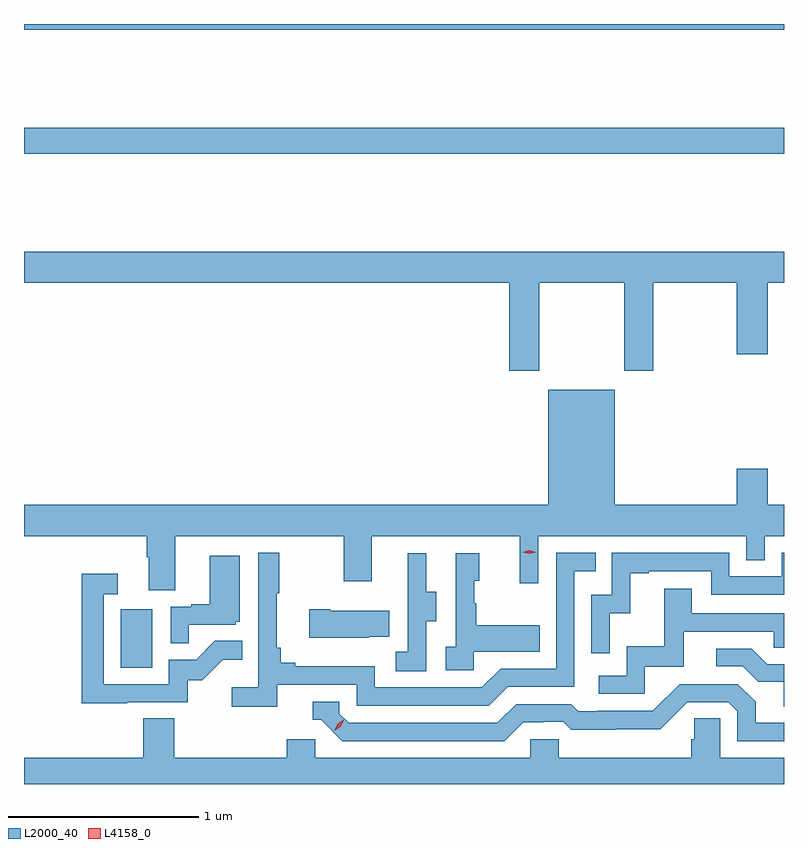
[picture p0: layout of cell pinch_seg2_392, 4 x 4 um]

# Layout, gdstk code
import gdstk
lib = gdstk.Library(unit=1e-6, precision=1e-09)
def R(c, l, rs):  # rectangles x0, y0, x1, y1
    for r in rs: c.add(gdstk.rectangle(r[:2], r[2:], *l))
def P(c, l, *ps):  # polygons
    for p in ps: c.add(gdstk.Polygon(p, *l))
L2000_40 = (2000, 40)
L4158_0 = (4158, 0)

pinch_seg2_392 = lib.new_cell('pinch_seg2_392')
R(pinch_seg2_392, L2000_40, [(964.964,621.636,965.128,621.943), (964.454,624.34,968.454,624.476), (964.454,624.992,968.454,625.023)])
P(pinch_seg2_392, L2000_40, [(967.167,623.66),(967.612,623.66),(967.612,623.199),(967.767,623.199),(967.767,623.66),(968.204,623.66),(968.204,623.286),(968.368,623.286),(968.368,623.66),(968.454,623.66),(968.454,623.824),(964.454,623.824),(964.454,623.66),(967.007,623.66),(967.007,623.199),(967.167,623.199)],
  [(965.251,622.328),(966.136,622.328),(966.136,622.089),(966.283,622.089),(966.283,622.328),(967.064,622.328),(967.064,622.08),(967.161,622.08),(967.161,622.328),(968.256,622.328),(968.256,622.201),(968.352,622.201),(968.352,622.328),(968.454,622.328),(968.454,622.492),(968.368,622.492),(968.368,622.681),(968.204,622.681),(968.204,622.492),(967.564,622.492),(967.564,623.098),(967.214,623.098),(967.214,622.492),(964.454,622.492),(964.454,622.328),(965.099,622.328),(965.099,622.216),(965.111,622.216),(965.111,622.042),(965.251,622.042)],
  [(965.786,621.546),(966.204,621.546),(966.204,621.435),(966.901,621.435),(967,621.534),(967.35,621.534),(967.35,622.143),(967.463,622.143),(967.463,622.239),(967.254,622.239),(967.254,621.63),(966.963,621.63),(966.864,621.531),(966.3,621.531),(966.3,621.643),(965.881,621.643),(965.881,621.662),(965.804,621.662),(965.804,621.739),(965.785,621.739),(965.785,622.027),(965.797,622.027),(965.797,622.24),(965.688,622.24),(965.688,621.532),(965.547,621.532),(965.547,621.43),(965.786,621.43)],
  [(967.536,621.923),(967.646,621.923),(967.646,622.131),(967.741,622.131),(967.741,622.143),(968.07,622.143),(968.07,622.02),(968.454,622.02),(968.454,622.239),(968.442,622.239),(968.442,622.116),(968.166,622.116),(968.166,622.239),(967.548,622.239),(967.548,622.02),(967.44,622.02),(967.44,621.711),(967.536,621.711)],
  [(966.822,621.719),(967.169,621.719),(967.169,621.859),(966.835,621.859),(966.835,621.974),(966.825,621.974),(966.825,622.092),(966.85,622.092),(966.85,622.237),(966.726,622.237),(966.726,621.746),(966.675,621.746),(966.675,621.621),(966.822,621.621)],
  [(966.57,621.88),(966.625,621.88),(966.625,622.035),(966.571,622.035),(966.571,622.237),(966.473,622.237),(966.473,622.023),(966.474,622.023),(966.474,621.719),(966.411,621.719),(966.411,621.616),(966.57,621.616)],
  [(965.321,621.861),(965.568,621.861),(965.568,621.876),(965.59,621.876),(965.59,622.225),(965.432,622.225),(965.432,621.97),(965.333,621.97),(965.333,621.957),(965.226,621.957),(965.226,621.763),(965.321,621.763)],
  [(964.997,621.453),(965.316,621.453),(965.316,621.57),(965.392,621.57),(965.499,621.677),(965.603,621.677),(965.603,621.776),(965.459,621.776),(965.361,621.678),(965.217,621.678),(965.217,621.549),(964.875,621.549),(964.875,622.023),(964.948,622.023),(964.948,622.129),(964.759,622.129),(964.759,621.448),(964.997,621.448)],
  [(967.722,621.639),(967.927,621.639),(967.927,621.825),(968.401,621.825),(968.401,621.741),(968.454,621.741),(968.454,621.921),(967.969,621.921),(967.969,622.051),(967.825,622.051),(967.825,621.748),(967.626,621.748),(967.626,621.594),(967.479,621.594),(967.479,621.498),(967.722,621.498)],
  [(966.269,621.797),(966.377,621.797),(966.377,621.934),(966.067,621.934),(966.067,621.942),(965.955,621.942),(965.955,621.794),(966.269,621.794)],
  [(968.454,621.654),(968.365,621.654),(968.284,621.735),(968.097,621.735),(968.097,621.642),(968.238,621.642),(968.318,621.562),(968.453,621.562),(968.453,621.43),(968.454,621.43)],
  [(967.081,621.348),(967.188,621.348),(967.188,621.351),(967.291,621.351),(967.333,621.309),(967.566,621.309),(967.566,621.311),(967.802,621.311),(967.944,621.453),(968.16,621.453),(968.208,621.405),(968.208,621.249),(968.454,621.249),(968.454,621.345),(968.305,621.345),(968.305,621.455),(968.211,621.549),(967.905,621.549),(967.764,621.408),(967.471,621.408),(967.471,621.405),(967.372,621.405),(967.333,621.444),(967.044,621.444),(966.945,621.345),(966.162,621.345),(966.114,621.393),(966.114,621.456),(965.975,621.456),(965.975,621.36),(966.018,621.36),(966.129,621.249),(966.982,621.249)],
  [(968.454,621.16),(968.118,621.16),(968.118,621.368),(967.981,621.368),(967.981,621.258),(967.967,621.258),(967.967,621.16),(967.269,621.16),(967.269,621.258),(967.119,621.258),(967.119,621.16),(965.988,621.16),(965.988,621.258),(965.837,621.258),(965.837,621.16),(965.246,621.16),(965.246,621.368),(965.081,621.368),(965.081,621.16),(964.454,621.16),(964.454,621.023),(968.454,621.023)])
P(pinch_seg2_392, L4158_0, [(967.114,622.234),(967.078,622.243),(967.078,622.243),(967.078,622.243),(967.114,622.254),(967.15,622.244),(967.15,622.244),(967.15,622.244)],
  [(966.09,621.307),(966.09,621.308),(966.106,621.34),(966.136,621.36),(966.136,621.36),(966.136,621.36),(966.121,621.327),(966.091,621.307)])

lib.write_gds('pinch_seg2_392.gds')
